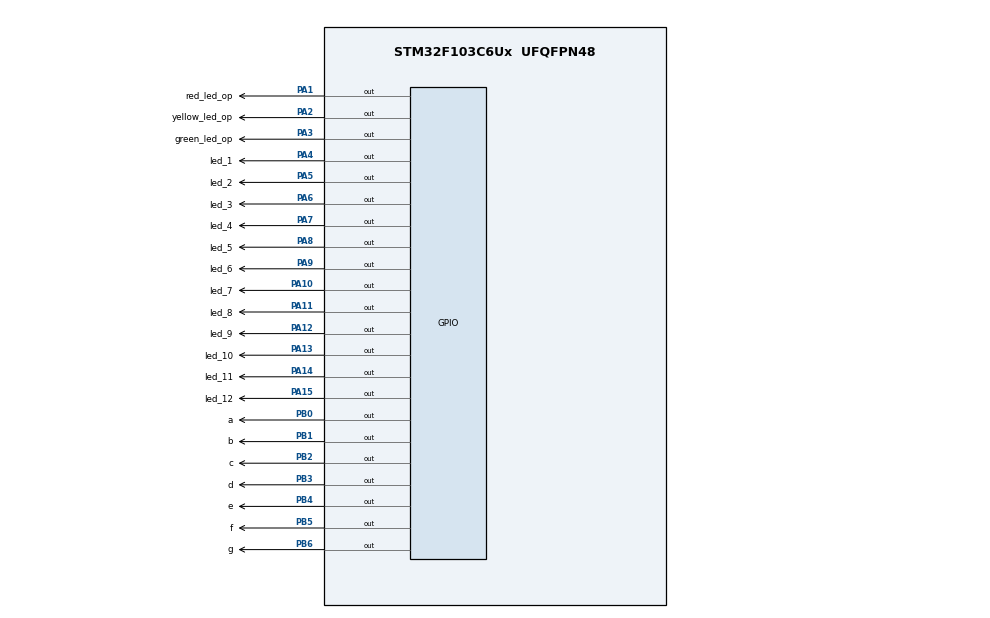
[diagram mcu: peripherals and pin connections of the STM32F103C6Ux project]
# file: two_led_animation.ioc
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Mcu.Family=STM32F1
Mcu.Name=STM32F103C6Ux
Mcu.Package=UFQFPN48
NVIC.PriorityGroup=NVIC_PRIORITYGROUP_4
PA1.GPIO_Label=red_led_op
PA1.Signal=GPIO_Output
PA10.GPIO_Label=led_7
PA10.Signal=GPIO_Output
PA11.GPIO_Label=led_8
PA11.Signal=GPIO_Output
PA12.GPIO_Label=led_9
PA12.Signal=GPIO_Output
PA13.GPIO_Label=led_10
PA13.Signal=GPIO_Output
PA14.GPIO_Label=led_11
PA14.Signal=GPIO_Output
PA15.GPIO_Label=led_12
PA15.Signal=GPIO_Output
PA2.GPIO_Label=yellow_led_op
PA2.Signal=GPIO_Output
PA3.GPIO_Label=green_led_op
PA3.Signal=GPIO_Output
PA4.GPIO_Label=led_1
PA4.Signal=GPIO_Output
PA5.GPIO_Label=led_2
PA5.Signal=GPIO_Output
PA6.GPIO_Label=led_3
PA6.Signal=GPIO_Output
PA7.GPIO_Label=led_4
PA7.Signal=GPIO_Output
PA8.GPIO_Label=led_5
PA8.Signal=GPIO_Output
PA9.GPIO_Label=led_6
PA9.Signal=GPIO_Output
PB0.GPIO_Label=a
PB0.Signal=GPIO_Output
PB1.GPIO_Label=b
PB1.Signal=GPIO_Output
PB2.GPIO_Label=c
PB2.Signal=GPIO_Output
PB3.GPIO_Label=d
PB3.Signal=GPIO_Output
PB4.GPIO_Label=e
PB4.Signal=GPIO_Output
PB5.GPIO_Label=f
PB5.Signal=GPIO_Output
PB6.GPIO_Label=g
PB6.Signal=GPIO_Output
ProjectManager.HeapSize=0x200
ProjectManager.StackSize=0x400
ProjectManager.TargetToolchain=STM32CubeIDE
RCC.APB1Freq_Value=8000000
RCC.APB2Freq_Value=8000000
board=custom

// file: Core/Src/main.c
/* USER CODE BEGIN Header */
/**
  ******************************************************************************
  * @file           : main.c
  * @brief          : Main program body
  ******************************************************************************
  * @attention
  *
  * Copyright (c) 2022 STMicroelectronics.
  * All rights reserved.
  *
  * This software is licensed under terms that can be found in the LICENSE file
  * in the root directory of this software component.
  * If no LICENSE file comes with this software, it is provided AS-IS.
  *
  ******************************************************************************
  */
/* USER CODE END Header */
#include "main.h"

void SystemClock_Config(void);
static void MX_GPIO_Init(void);

/* USER CODE BEGIN 0 */
void clearNumberOnClock(int num) {
	switch (num) {
				case 0:
					HAL_GPIO_WritePin(led_1_GPIO_Port, led_1_Pin, SET);
					break;
				case 1:
					HAL_GPIO_WritePin(led_2_GPIO_Port, led_2_Pin, SET);
					break;
				case 2:
					HAL_GPIO_WritePin(led_3_GPIO_Port, led_3_Pin, SET);
					break;
				case 3:
					HAL_GPIO_WritePin(led_4_GPIO_Port, led_4_Pin, SET);
					break;
				case 4:
					HAL_GPIO_WritePin(led_5_GPIO_Port, led_5_Pin, SET);
					break;
				case 5:
					HAL_GPIO_WritePin(led_6_GPIO_Port, led_6_Pin, SET);
					break;
				case 6:
					HAL_GPIO_WritePin(led_7_GPIO_Port, led_7_Pin, SET);
					break;
				case 7:
					HAL_GPIO_WritePin(led_8_GPIO_Port, led_8_Pin, SET);
					break;
				case 8:
					HAL_GPIO_WritePin(led_9_GPIO_Port, led_9_Pin, SET);
					break;
				case 9:
					HAL_GPIO_WritePin(led_10_GPIO_Port, led_10_Pin, SET);
					break;
				case 10:
					HAL_GPIO_WritePin(led_11_GPIO_Port, led_11_Pin, SET);
					break;
				case 11:
					HAL_GPIO_WritePin(led_12_GPIO_Port, led_12_Pin, SET);
					break;
			}
}
void clearAllClock () {
	HAL_GPIO_WritePin(led_1_GPIO_Port, led_1_Pin, SET);
	HAL_GPIO_WritePin(led_2_GPIO_Port, led_2_Pin, SET);
	HAL_GPIO_WritePin(led_3_GPIO_Port, led_3_Pin, SET);
	HAL_GPIO_WritePin(led_4_GPIO_Port, led_4_Pin, SET);
	HAL_GPIO_WritePin(led_5_GPIO_Port, led_5_Pin, SET);
	HAL_GPIO_WritePin(led_6_GPIO_Port, led_6_Pin, SET);
	HAL_GPIO_WritePin(led_7_GPIO_Port, led_7_Pin, SET);
	HAL_GPIO_WritePin(led_8_GPIO_Port, led_8_Pin, SET);
	HAL_GPIO_WritePin(led_9_GPIO_Port, led_9_Pin, SET);
	HAL_GPIO_WritePin(led_10_GPIO_Port, led_10_Pin, SET);
	HAL_GPIO_WritePin(led_11_GPIO_Port, led_11_Pin, SET);
	HAL_GPIO_WritePin(led_12_GPIO_Port, led_12_Pin, SET);
}
void setNumberOnClock(int num) {
	switch (num) {
			case 0:
				HAL_GPIO_WritePin(led_1_GPIO_Port, led_1_Pin, RESET);
				break;
			case 1:
				HAL_GPIO_WritePin(led_2_GPIO_Port, led_2_Pin, RESET);
				break;
			case 2:
				HAL_GPIO_WritePin(led_3_GPIO_Port, led_3_Pin, RESET);
				break;
			case 3:
				HAL_GPIO_WritePin(led_4_GPIO_Port, led_4_Pin, RESET);
				break;
			case 4:
				HAL_GPIO_WritePin(led_5_GPIO_Port, led_5_Pin, RESET);
				break;
			case 5:
				HAL_GPIO_WritePin(led_6_GPIO_Port, led_6_Pin, RESET);
				break;
			case 6:
				HAL_GPIO_WritePin(led_7_GPIO_Port, led_7_Pin, RESET);
				break;
			case 7:
				HAL_GPIO_WritePin(led_8_GPIO_Port, led_8_Pin, RESET);
				break;
			case 8:
				HAL_GPIO_WritePin(led_9_GPIO_Port, led_9_Pin, RESET);
				break;
			case 9:
				HAL_GPIO_WritePin(led_10_GPIO_Port, led_10_Pin, RESET);
				break;
			case 10:
				HAL_GPIO_WritePin(led_11_GPIO_Port, led_11_Pin, RESET);
				break;
			case 11:
				HAL_GPIO_WritePin(led_12_GPIO_Port, led_12_Pin, RESET);
				break;
		}
}
/*
void display7SEG(int num) {
	switch (num) {
		case 0:
			HAL_GPIO_WritePin(a_GPIO_Port, a_Pin, RESET);
			HAL_GPIO_WritePin(b_GPIO_Port, b_Pin, RESET);
			HAL_GPIO_WritePin(c_GPIO_Port, c_Pin, RESET);
			HAL_GPIO_WritePin(d_GPIO_Port, d_Pin, RESET);
			HAL_GPIO_WritePin(e_GPIO_Port, e_Pin, RESET);
			HAL_GPIO_WritePin(f_GPIO_Port, f_Pin, RESET);
			HAL_GPIO_WritePin(g_GPIO_Port, g_Pin, SET);
			break;
		case 1:
			HAL_GPIO_WritePin(a_GPIO_Port, a_Pin, SET);
			HAL_GPIO_WritePin(b_GPIO_Port, b_Pin, RESET);
			HAL_GPIO_WritePin(c_GPIO_Port, c_Pin, RESET);
			HAL_GPIO_WritePin(d_GPIO_Port, d_Pin, SET);
			HAL_GPIO_WritePin(e_GPIO_Port, e_Pin, SET);
			HAL_GPIO_WritePin(f_GPIO_Port, f_Pin, SET);
			HAL_GPIO_WritePin(g_GPIO_Port, g_Pin, SET);
			break;
		case 2:
			HAL_GPIO_WritePin(a_GPIO_Port, a_Pin, RESET);
			HAL_GPIO_WritePin(b_GPIO_Port, b_Pin, RESET);
			HAL_GPIO_WritePin(c_GPIO_Port, c_Pin, SET);
			HAL_GPIO_WritePin(d_GPIO_Port, d_Pin, RESET);
			HAL_GPIO_WritePin(e_GPIO_Port, e_Pin, RESET);
			HAL_GPIO_WritePin(f_GPIO_Port, f_Pin, SET);
			HAL_GPIO_WritePin(g_GPIO_Port, g_Pin, RESET);
			break;
		case 3:
			HAL_GPIO_WritePin(a_GPIO_Port, a_Pin, RESET);
			HAL_GPIO_WritePin(b_GPIO_Port, b_Pin, RESET);
			HAL_GPIO_WritePin(c_GPIO_Port, c_Pin, RESET);
			HAL_GPIO_WritePin(d_GPIO_Port, d_Pin, RESET);
			HAL_GPIO_WritePin(e_GPIO_Port, e_Pin, SET);
			HAL_GPIO_WritePin(f_GPIO_Port, f_Pin, SET);
			HAL_GPIO_WritePin(g_GPIO_Port, g_Pin, RESET);
			break;
		case 4:
			HAL_GPIO_WritePin(a_GPIO_Port, a_Pin, SET);
			HAL_GPIO_WritePin(b_GPIO_Port, b_Pin, RESET);
			HAL_GPIO_WritePin(c_GPIO_Port, c_Pin, RESET);
			HAL_GPIO_WritePin(d_GPIO_Port, d_Pin, SET);
			HAL_GPIO_WritePin(e_GPIO_Port, e_Pin, SET);
			HAL_GPIO_WritePin(f_GPIO_Port, f_Pin, RESET);
			HAL_GPIO_WritePin(g_GPIO_Port, g_Pin, RESET);
			break;
		case 5:
			HAL_GPIO_WritePin(a_GPIO_Port, a_Pin, RESET);
			HAL_GPIO_WritePin(b_GPIO_Port, b_Pin, SET);
			HAL_GPIO_WritePin(c_GPIO_Port, c_Pin, RESET);
			HAL_GPIO_WritePin(d_GPIO_Port, d_Pin, RESET);
			HAL_GPIO_WritePin(e_GPIO_Port, e_Pin, SET);
			HAL_GPIO_WritePin(f_GPIO_Port, f_Pin, RESET);
			HAL_GPIO_WritePin(g_GPIO_Port, g_Pin, RESET);
			break;
		case 6:
			HAL_GPIO_WritePin(a_GPIO_Port, a_Pin, RESET);
			HAL_GPIO_WritePin(b_GPIO_Port, b_Pin, SET);
			HAL_GPIO_WritePin(c_GPIO_Port, c_Pin, RESET);
			HAL_GPIO_WritePin(d_GPIO_Port, d_Pin, RESET);
			HAL_GPIO_WritePin(e_GPIO_Port, e_Pin, RESET);
			HAL_GPIO_WritePin(f_GPIO_Port, f_Pin, RESET);
			HAL_GPIO_WritePin(g_GPIO_Port, g_Pin, RESET);
			break;
		case 7:
			HAL_GPIO_WritePin(a_GPIO_Port, a_Pin, RESET);
			HAL_GPIO_WritePin(b_GPIO_Port, b_Pin, RESET);
			HAL_GPIO_WritePin(c_GPIO_Port, c_Pin, RESET);
			HAL_GPIO_WritePin(d_GPIO_Port, d_Pin, SET);
			HAL_GPIO_WritePin(e_GPIO_Port, e_Pin, SET);
			HAL_GPIO_WritePin(f_GPIO_Port, f_Pin, SET);
			HAL_GPIO_WritePin(g_GPIO_Port, g_Pin, SET);
			break;
		case 8:
			HAL_GPIO_WritePin(a_GPIO_Port, a_Pin, RESET);
			HAL_GPIO_WritePin(b_GPIO_Port, b_Pin, RESET);
			HAL_GPIO_WritePin(c_GPIO_Port, c_Pin, RESET);
			HAL_GPIO_WritePin(d_GPIO_Port, d_Pin, RESET);
			HAL_GPIO_WritePin(e_GPIO_Port, e_Pin, RESET);
			HAL_GPIO_WritePin(f_GPIO_Port, f_Pin, RESET);
			HAL_GPIO_WritePin(g_GPIO_Port, g_Pin, RESET);
			break;
		case 9:
			HAL_GPIO_WritePin(a_GPIO_Port, a_Pin, RESET);
			HAL_GPIO_WritePin(b_GPIO_Port, b_Pin, RESET);
			HAL_GPIO_WritePin(c_GPIO_Port, c_Pin, RESET);
			HAL_GPIO_WritePin(d_GPIO_Port, d_Pin, RESET);
			HAL_GPIO_WritePin(e_GPIO_Port, e_Pin, SET);
			HAL_GPIO_WritePin(f_GPIO_Port, f_Pin, RESET);
			HAL_GPIO_WritePin(g_GPIO_Port, g_Pin, RESET);
			break;
	}
}
*/
/* USER CODE END 0 */

int main(void)
{

  /* MCU Configuration--------------------------------------------------------*/

  /* Reset of all peripherals, Initializes the Flash interface and the Systick. */
  HAL_Init();

  /* Configure the system clock */
  SystemClock_Config();

  /* Initialize all configured peripherals */
  MX_GPIO_Init();

  /* Infinite loop */
  /* USER CODE BEGIN WHILE */
  int count_h = 1;
  int count_m = 1;
  int count_s = 1;
  int isIntial = 0;
//  int status = 0, status_op = 0;
//  int count_red = 5, count_yellow = 2, count_green = 3;
//  int count_red_op = 5, count_yellow_op = 2, count_green_op = 3;
//  HAL_GPIO_WritePin(red_led_GPIO_Port, red_led_Pin, SET);
//  HAL_GPIO_WritePin(yellow_led_GPIO_Port, yellow_led_Pin, SET);
//  HAL_GPIO_WritePin(green_led_GPIO_Port, green_led_Pin, SET);
//  HAL_GPIO_WritePin(red_led_op_GPIO_Port, red_led_op_Pin, SET);
//  HAL_GPIO_WritePin(yellow_led_op_GPIO_Port, yellow_led_op_Pin, SET);
//  HAL_GPIO_WritePin(green_led_op_GPIO_Port, green_led_op_Pin, SET);
  while (1) {
//	  switch (status) {
//	  	  case 0:
//	  		  display7SEG(count_red);
//	  		  HAL_GPIO_WritePin(red_led_GPIO_Port, red_led_Pin, RESET);
//	  		  HAL_GPIO_WritePin(yellow_led_GPIO_Port, yellow_led_Pin, SET);
//	  		  HAL_GPIO_WritePin(green_led_GPIO_Port, green_led_Pin, SET);
//	  		  count_red--;
//	  		  if (count_red==0) {
//	  			  status = 2;
//	  			  count_red = 5;
//	  		  }
//	  		  break;
//	  	  case 1:
//	  		  display7SEG(count_yellow);
//	  		  HAL_GPIO_WritePin(yellow_led_GPIO_Port, yellow_led_Pin, RESET);
//	  		  HAL_GPIO_WritePin(red_led_GPIO_Port, red_led_Pin, SET);
//	  		  HAL_GPIO_WritePin(green_led_GPIO_Port, green_led_Pin, SET);
//	  		  count_yellow--;
//	  		  if (count_yellow==0) {
//	  			  status = 0;
//	  			  count_yellow = 2;
//	  		  }
//	  		  break;
//	  	  case 2:
//	  		  display7SEG(count_green);
//	  		  HAL_GPIO_WritePin(green_led_GPIO_Port, green_led_Pin, RESET);
//	  		  HAL_GPIO_WritePin(red_led_GPIO_Port, red_led_Pin, SET);
//	  		  HAL_GPIO_WritePin(yellow_led_GPIO_Port, yellow_led_Pin, SET);
//	  		  count_green--;
//	  		  if (count_green==0) {
//	  			  status = 1;
//	  			  count_green = 3;
//	  		  }
//	  		  break;
//	  }
//	  switch (status_op) {
//	  	  	  case 0:
//	  	  		HAL_GPIO_WritePin(green_led_op_GPIO_Port, green_led_op_Pin, RESET);
//	  	  		HAL_GPIO_WritePin(red_led_op_GPIO_Port, red_led_op_Pin, SET);
//	  	  		HAL_GPIO_WritePin(yellow_led_op_GPIO_Port, yellow_led_op_Pin, SET);
//	  	  		count_green_op--;
//	  	  		if (count_green_op==0) {
//	  	  			  status_op = 1;
//	  	  			  count_green_op = 3;
//	  	  			  	  		  }
//	  	  		break;
//	  	  	  case 1:
//	  	  		  HAL_GPIO_WritePin(yellow_led_op_GPIO_Port, yellow_led_op_Pin, RESET);
//	  	  		  HAL_GPIO_WritePin(red_led_op_GPIO_Port, red_led_op_Pin, SET);
//	  	  		  HAL_GPIO_WritePin(green_led_op_GPIO_Port, green_led_op_Pin, SET);
//	  	  		  count_yellow_op--;
//	  	  		  if (count_yellow_op==0) {
//	  	  			  status_op = 2;
//	  	  			  count_yellow_op = 2;
//	  	  		  }
//	  	  		  break;
//	  	  	  case 2:
//	  	  		HAL_GPIO_WritePin(red_led_op_GPIO_Port, red_led_op_Pin, RESET);
//	  	  		HAL_GPIO_WritePin(yellow_led_op_GPIO_Port, yellow_led_op_Pin, SET);
//	  	  		HAL_GPIO_WritePin(green_led_op_GPIO_Port, green_led_op_Pin, SET);
//	  	  		count_red_op--;
//	  	  		if (count_red_op==0) {
//	  	  			  status_op = 0;
//	  	  			  count_red_op = 5;
//	  	  		}
//	  	  		break;
//	  	  }
	  if (count_s >= 12) count_s = 0;
	  if (count_m >= 12) count_m = 0;
	  if (count_h >= 12) count_h = 0;
	  clearAllClock();
	  if (count_m == 1 && count_s == 1 && isIntial == 1) setNumberOnClock(count_h++);
	  else {
		  setNumberOnClock(count_h);
		  isIntial = 1;
	  }
	  if (count_s == 0) setNumberOnClock(count_m++);
	  else setNumberOnClock(count_m);
	  setNumberOnClock(count_s++);
	  HAL_Delay(500);
    /* USER CODE END WHILE */

  }
}

void SystemClock_Config(void)
{
  RCC_OscInitTypeDef RCC_OscInitStruct = {0};
  RCC_ClkInitTypeDef RCC_ClkInitStruct = {0};

  /** Initializes the RCC Oscillators according to the specified parameters
  * in the RCC_OscInitTypeDef structure.
  */
  RCC_OscInitStruct.OscillatorType = RCC_OSCILLATORTYPE_HSI;
  RCC_OscInitStruct.HSIState = RCC_HSI_ON;
  RCC_OscInitStruct.HSICalibrationValue = RCC_HSICALIBRATION_DEFAULT;
  RCC_OscInitStruct.PLL.PLLState = RCC_PLL_NONE;
  if (HAL_RCC_OscConfig(&RCC_OscInitStruct) != HAL_OK)
  {
    Error_Handler();
  }

  /** Initializes the CPU, AHB and APB buses clocks
  */
  RCC_ClkInitStruct.ClockType = RCC_CLOCKTYPE_HCLK|RCC_CLOCKTYPE_SYSCLK
                              |RCC_CLOCKTYPE_PCLK1|RCC_CLOCKTYPE_PCLK2;
  RCC_ClkInitStruct.SYSCLKSource = RCC_SYSCLKSOURCE_HSI;
  RCC_ClkInitStruct.AHBCLKDivider = RCC_SYSCLK_DIV1;
  RCC_ClkInitStruct.APB1CLKDivider = RCC_HCLK_DIV1;
  RCC_ClkInitStruct.APB2CLKDivider = RCC_HCLK_DIV1;

  if (HAL_RCC_ClockConfig(&RCC_ClkInitStruct, FLASH_LATENCY_0) != HAL_OK)
  {
    Error_Handler();
  }
}

static void MX_GPIO_Init(void)
{
  GPIO_InitTypeDef GPIO_InitStruct = {0};

  /* GPIO Ports Clock Enable */
  __HAL_RCC_GPIOA_CLK_ENABLE();
  __HAL_RCC_GPIOB_CLK_ENABLE();

  /*Configure GPIO pin Output Level */
  HAL_GPIO_WritePin(GPIOA, red_led_op_Pin|yellow_led_op_Pin|green_led_op_Pin|led_1_Pin
                          |led_2_Pin|led_3_Pin|led_4_Pin|led_5_Pin
                          |led_6_Pin|led_7_Pin|led_8_Pin|led_9_Pin
                          |led_10_Pin|led_11_Pin|led_12_Pin, GPIO_PIN_RESET);

  /*Configure GPIO pin Output Level */
  HAL_GPIO_WritePin(GPIOB, a_Pin|b_Pin|c_Pin|d_Pin
                          |e_Pin|f_Pin|g_Pin, GPIO_PIN_RESET);

  /*Configure GPIO pins : red_led_op_Pin yellow_led_op_Pin green_led_op_Pin led_1_Pin
                           led_2_Pin led_3_Pin led_4_Pin led_5_Pin
                           led_6_Pin led_7_Pin led_8_Pin led_9_Pin
                           led_10_Pin led_11_Pin led_12_Pin */
  GPIO_InitStruct.Pin = red_led_op_Pin|yellow_led_op_Pin|green_led_op_Pin|led_1_Pin
                          |led_2_Pin|led_3_Pin|led_4_Pin|led_5_Pin
                          |led_6_Pin|led_7_Pin|led_8_Pin|led_9_Pin
                          |led_10_Pin|led_11_Pin|led_12_Pin;
  GPIO_InitStruct.Mode = GPIO_MODE_OUTPUT_PP;
  GPIO_InitStruct.Pull = GPIO_NOPULL;
  GPIO_InitStruct.Speed = GPIO_SPEED_FREQ_LOW;
  HAL_GPIO_Init(GPIOA, &GPIO_InitStruct);

  /*Configure GPIO pins : a_Pin b_Pin c_Pin d_Pin
                           e_Pin f_Pin g_Pin */
  GPIO_InitStruct.Pin = a_Pin|b_Pin|c_Pin|d_Pin
                          |e_Pin|f_Pin|g_Pin;
  GPIO_InitStruct.Mode = GPIO_MODE_OUTPUT_PP;
  GPIO_InitStruct.Pull = GPIO_NOPULL;
  GPIO_InitStruct.Speed = GPIO_SPEED_FREQ_LOW;
  HAL_GPIO_Init(GPIOB, &GPIO_InitStruct);

}

void Error_Handler(void)
{
  __disable_irq();
  while (1)
  {
  }
}
